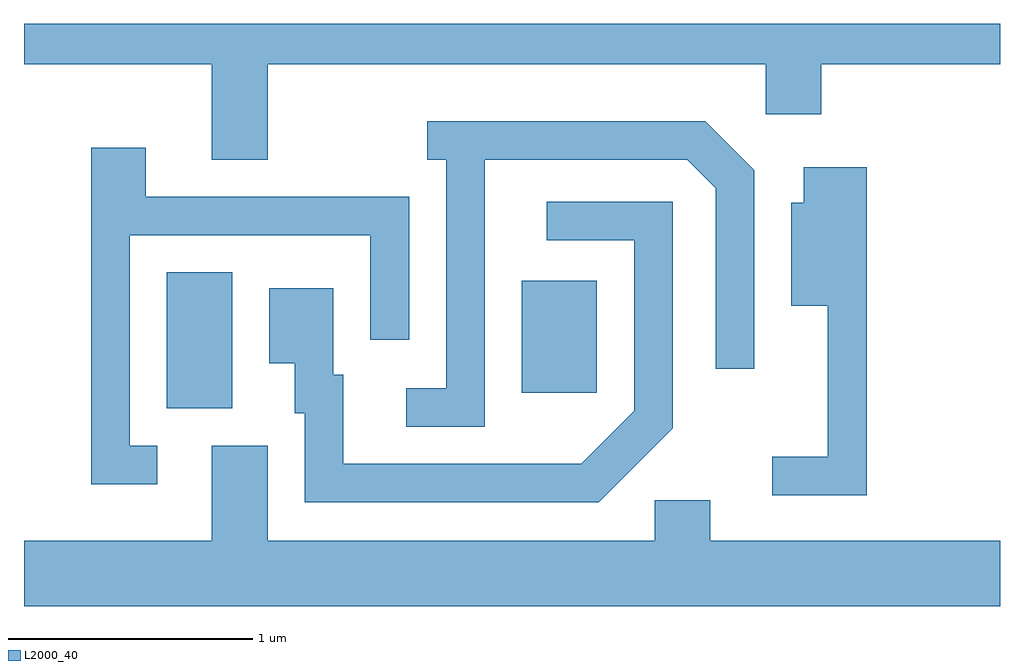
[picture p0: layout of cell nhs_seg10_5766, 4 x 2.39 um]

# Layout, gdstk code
import gdstk
lib = gdstk.Library(unit=1e-6, precision=1e-09)
def R(c, l, rs):  # rectangles x0, y0, x1, y1
    for r in rs: c.add(gdstk.rectangle(r[:2], r[2:], *l))
def P(c, l, *ps):  # polygons
    for p in ps: c.add(gdstk.Polygon(p, *l))
L2000_40 = (2000, 40)

nhs_seg10_5766 = lib.new_cell('nhs_seg10_5766')
R(nhs_seg10_5766, L2000_40, [(356.196,2116.946,356.464,2117.504), (357.651,2117.011,357.959,2117.469)])
P(nhs_seg10_5766, L2000_40, [(356.609,2118.356),(358.651,2118.356),(358.651,2118.151),(358.879,2118.151),(358.879,2118.356),(359.611,2118.356),(359.611,2118.522),(355.611,2118.522),(355.611,2118.356),(356.381,2118.356),(356.381,2117.966),(356.609,2117.966)],
  [(357.499,2117.966),(358.329,2117.966),(358.446,2117.849),(358.446,2117.108),(358.604,2117.108),(358.604,2117.922),(358.402,2118.124),(357.263,2118.124),(357.263,2117.966),(357.341,2117.966),(357.341,2117.029),(357.178,2117.029),(357.178,2116.871),(357.499,2116.871)],
  [(356.158,2116.794),(356.044,2116.794),(356.044,2117.656),(357.031,2117.656),(357.031,2117.228),(357.189,2117.228),(357.189,2117.814),(356.109,2117.814),(356.109,2118.014),(355.886,2118.014),(355.886,2116.636),(356.158,2116.636)],
  [(359.064,2117.934),(358.806,2117.934),(358.806,2117.789),(358.756,2117.789),(358.756,2117.366),(358.906,2117.366),(358.906,2116.749),(358.678,2116.749),(358.678,2116.591),(359.064,2116.591)],
  [(358.269,2116.864),(358.269,2117.794),(357.753,2117.794),(357.753,2117.636),(358.111,2117.636),(358.111,2116.937),(357.894,2116.719),(356.919,2116.719),(356.919,2117.084),(356.879,2117.084),(356.879,2117.439),(356.616,2117.439),(356.616,2117.131),(356.721,2117.131),(356.721,2116.926),(356.761,2116.926),(356.761,2116.561),(357.967,2116.561)],
  [(359.611,2116.404),(358.424,2116.404),(358.424,2116.569),(358.196,2116.569),(358.196,2116.404),(356.609,2116.404),(356.609,2116.794),(356.381,2116.794),(356.381,2116.404),(355.611,2116.404),(355.611,2116.136),(359.611,2116.136)])

lib.write_gds('nhs_seg10_5766.gds')
